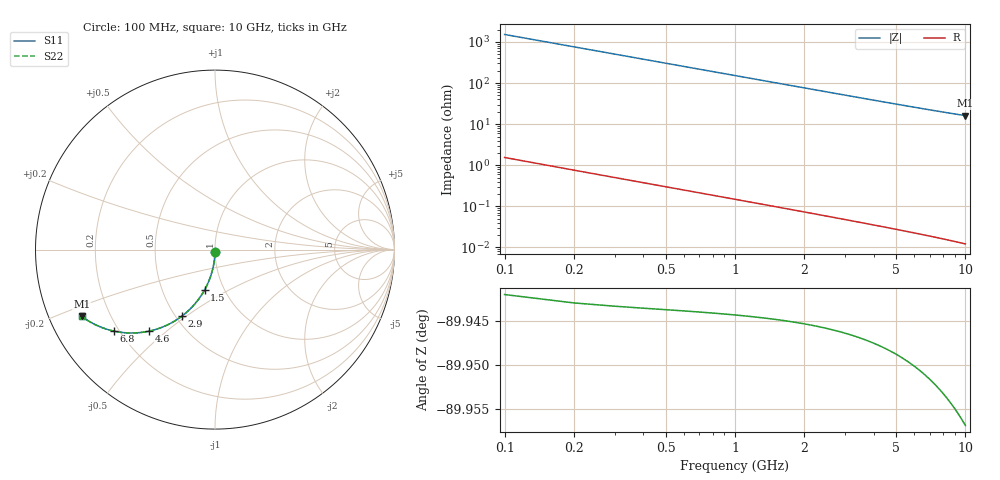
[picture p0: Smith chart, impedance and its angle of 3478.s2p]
# Hz S RI R 50.00
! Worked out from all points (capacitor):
!   100 points, 100 MHz to 10 GHz, reference 50 ohm
!   read as one part in shunt: C = 1.04 pF near 100 MHz
!   lowest |Z| = 16.1 ohm at 10 GHz (marker M1)
!   S11 on the Smith chart (normalised r, x): 100 MHz: 1.00, -0.03; 1.5 GHz: 0.81, -0.38; 2.9 GHz: 0.54, -0.48; 4.6 GHz: 0.32, -0.44; 6.8 GHz: 0.18, -0.34; 10 GHz: 0.10, -0.23
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1e8  -0.000161 -0.0158  0.9996 -0.017  0.9996 -0.017  -0.000161 -0.0158
2e8  -0.00098 -0.0316  0.9988 -0.0339  0.9988 -0.0339  -0.00098 -0.0316
3e8  -0.00233 -0.0473  0.9974 -0.0508  0.9974 -0.0508  -0.00233 -0.0473
4e8  -0.00421 -0.0629  0.9955 -0.0676  0.9955 -0.0676  -0.00421 -0.0629
5e8  -0.00662 -0.0785  0.9931 -0.0843  0.9931 -0.0843  -0.00662 -0.0785
6e8  -0.00954 -0.0939  0.9902 -0.1009  0.9902 -0.1009  -0.00954 -0.0939
7e8  -0.013 -0.1091  0.9867 -0.1174  0.9867 -0.1174  -0.013 -0.1091
9e8  -0.0213 -0.1391  0.9784 -0.1497  0.9784 -0.1497  -0.0213 -0.1391
1.2e9  -0.0373 -0.1824  0.9623 -0.1965  0.9623 -0.1965  -0.0373 -0.1824
1.5e9  -0.0572 -0.2232  0.9424 -0.2409  0.9424 -0.2409  -0.0572 -0.2232
1.8e9  -0.0804 -0.2612  0.9191 -0.2824  0.9191 -0.2824  -0.0804 -0.2612
2.3e9  -0.1251 -0.3172  0.8742 -0.3443  0.8742 -0.3443  -0.1251 -0.3172
2.9e9  -0.1857 -0.3716  0.8134 -0.4059  0.8134 -0.4059  -0.1857 -0.3716
3.4e9  -0.2392 -0.4063  0.7597 -0.4466  0.7597 -0.4466  -0.2392 -0.4063
4e9  -0.3041 -0.436  0.6945 -0.4836  0.6945 -0.4836  -0.3041 -0.436
4.6e9  -0.3672 -0.4543  0.631 -0.5092  0.631 -0.5092  -0.3672 -0.4543
5.1e9  -0.4173 -0.4622  0.5806 -0.5233  0.5806 -0.5233  -0.4173 -0.4622
5.9e9  -0.491 -0.4639  0.5062 -0.5349  0.5062 -0.5349  -0.491 -0.4639
6.7e9  -0.556 -0.4556  0.4404 -0.5367  0.4404 -0.5367  -0.556 -0.4556
6.8e9  -0.5635 -0.454  0.4328 -0.5364  0.4328 -0.5364  -0.5635 -0.454
8.4e9  -0.6665 -0.4184  0.3279 -0.5215  0.3279 -0.5215  -0.6665 -0.4184
1e10  -0.7418 -0.3726  0.2501 -0.4971  0.2501 -0.4971  -0.7418 -0.3726
